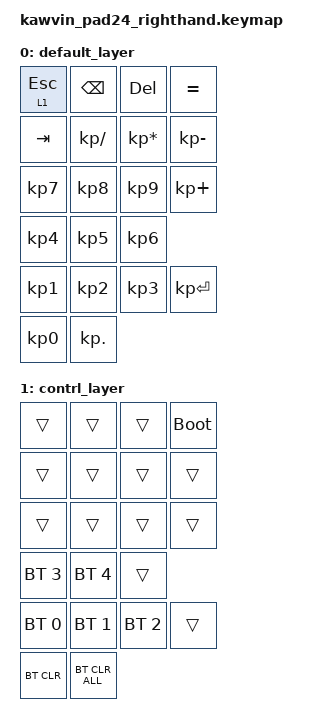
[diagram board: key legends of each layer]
/*
 * Copyright (c) 2021 The ZMK Contributors
 *
 * SPDX-License-Identifier: MIT
 */

#include <behaviors.dtsi>
#include <dt-bindings/zmk/bt.h>
#include <dt-bindings/zmk/keys.h>

/*
&led_strip {
    chain-length = <24>;
    // chain-length = <35>; // Uncomment if using both per-key and underglow LEDs
    // chain-length = <29>; // Uncomment if using only per-key LEDs.
};
*/

#define DEFAULT 0
#define NUMLEFT 1
#define FUNRIGHT 2
#define FUNLEFT 3
#define FUN 4
#define LSWITCH 5

/ {
    keymap {
        compatible = "zmk,keymap";

        default_layer {
            //  ---------------------------------------------------------------------------------
            //  |ESC        |TAB  |BSPC        |EQUAL|
            //  |NLCK       |SLASH|MULTIPLY    |MINUS|
            //  |7          |8    |9           |PLUS |
            //  |4          |5    |6           |     |
            //  |1          |2    |3           |ENTER|
            //  |&lt 2 KP_N0|     |&lt 5 KP_DOT|     |

            bindings = <
&lt 1 ESC  &kp BACKSPACE  &kp DEL          &kp EQUAL
&kp TAB    &kp KP_SLASH   &kp KP_MULTIPLY  &kp KP_MINUS
&kp KP_N7  &kp KP_N8      &kp KP_N9        &kp KP_PLUS
&kp KP_N4  &kp KP_N5      &kp KP_N6
&kp KP_N1  &kp KP_N2      &kp KP_N3        &kp KP_ENTER
&kp KP_N0  &kp KP_DOT
            >;
        };

        contrl_layer {
            //  ---------------------------------------------------------------------------------
            //  |    |    |    |    |
            //  |    |    |    |    |
            //  |    |    |    |    |
            //  |    |    |    |    |
            //  |    |    |    |    |
            //  |    |    |    |    |

            bindings = <
&trans        &trans          &trans        &bootloader
&trans        &trans          &trans        &trans
&trans        &trans          &trans        &trans
&bt BT_SEL 3  &bt BT_SEL 4    &trans
&bt BT_SEL 0  &bt BT_SEL 1    &bt BT_SEL 2  &trans
&bt BT_CLR    &bt BT_CLR_ALL
            >;
        };
    };
};
